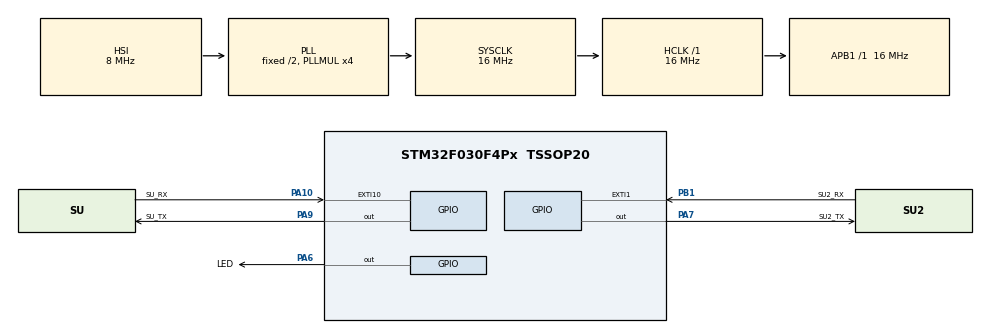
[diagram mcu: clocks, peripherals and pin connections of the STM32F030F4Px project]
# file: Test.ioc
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Mcu.Family=STM32F0
Mcu.Name=STM32F030F4Px
Mcu.Package=TSSOP20
NVIC.EXTI0_1_IRQn=true\:0\:0\:false\:false\:true\:true\:true
NVIC.EXTI4_15_IRQn=true\:0\:0\:false\:false\:true\:true\:true
NVIC.TIM3_IRQn=true\:0\:0\:false\:false\:true\:true\:true
PA10.GPIO_Label=SU_RX
PA10.GPIO_ModeDefaultEXTI=GPIO_MODE_IT_FALLING
PA10.GPIO_PuPd=GPIO_PULLUP
PA10.Signal=GPXTI10
PA13.Mode=Serial_Wire
PA13.Signal=SYS_SWDIO
PA14.Mode=Serial_Wire
PA14.Signal=SYS_SWCLK
PA6.GPIO_Label=LED
PA6.Signal=GPIO_Output
PA7.GPIO_Label=SU2_TX
PA7.GPIO_PuPd=GPIO_PULLUP
PA7.GPIO_Speed=GPIO_SPEED_FREQ_HIGH
PA7.PinState=GPIO_PIN_SET
PA7.Signal=GPIO_Output
PA9.GPIO_FMA9=__NULL
PA9.GPIO_Label=SU_TX
PA9.GPIO_PuPd=GPIO_PULLUP
PA9.GPIO_Speed=GPIO_SPEED_FREQ_HIGH
PA9.PinState=GPIO_PIN_SET
PA9.Signal=GPIO_Output
PB1.GPIO_Label=SU2_RX
PB1.GPIO_ModeDefaultEXTI=GPIO_MODE_IT_FALLING
PB1.GPIO_PuPd=GPIO_PULLUP
PB1.Signal=GPXTI1
ProjectManager.HeapSize=0x200
ProjectManager.StackSize=0x400
ProjectManager.TargetToolchain=MDK-ARM V5.27
RCC.AHBFreq_Value=16000000
RCC.APB1Freq_Value=16000000
RCC.APB1TimFreq_Value=16000000
RCC.HCLKFreq_Value=16000000
RCC.PLLMUL=RCC_PLL_MUL4
RCC.SYSCLKFreq_VALUE=16000000
RCC.SYSCLKSource=RCC_SYSCLKSOURCE_PLLCLK
TIM3.AutoReloadPreload=TIM_AUTORELOAD_PRELOAD_ENABLE
TIM3.Period=103
TIM3.Prescaler=15
VP_TIM3_VS_ClockSourceINT.Mode=Internal
board=custom

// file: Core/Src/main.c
/* USER CODE BEGIN Header */
/**
  ******************************************************************************
  * @file           : main.c
  * @brief          : Main program body
  ******************************************************************************
  * @attention
  *
  * <h2><center>&copy; Copyright (c) 2021 STMicroelectronics.
  * All rights reserved.</center></h2>
  *
  * This software component is licensed by ST under BSD 3-Clause license,
  * the "License"; You may not use this file except in compliance with the
  * License. You may obtain a copy of the License at:
  *                        opensource.org/licenses/BSD-3-Clause
  *
  ******************************************************************************
  */
/* USER CODE END Header */
#include "main.h"

/* USER CODE BEGIN Includes */
#include "softuart.h"

/* USER CODE END Includes */

TIM_HandleTypeDef htim3;

void SystemClock_Config(void);
static void MX_GPIO_Init(void);
static void MX_TIM3_Init(void);

/* USER CODE BEGIN 0 */
uint8_t Buffer[64],Len;

void HAL_TIM_PeriodElapsedCallback(TIM_HandleTypeDef *htim)
{
	if(htim->Instance == TIM3)
	{
		SoftUartHandler();
	}
}

void HAL_GPIO_EXTI_Callback(uint16_t GPIO_Pin)
{
	if(GPIO_Pin==GPIO_PIN_10)
	{
		SoftUartRxHelper(0);
	}
	else if(GPIO_Pin==GPIO_PIN_1)
	{
		SoftUartRxHelper(1);
	}
}

uint8_t getchar(uint8_t SoftUartNumber)
{
    uint8_t ch;
    while(SoftUartRxAlavailable(SoftUartNumber)==0);
    SoftUartReadRxBuffer(SoftUartNumber,&ch,1);
    return ch;
}

/* USER CODE END 0 */

int main(void)
{
  /* USER CODE BEGIN 1 */
	uint8_t ch;
  /* USER CODE END 1 */

  /* MCU Configuration--------------------------------------------------------*/

  /* Reset of all peripherals, Initializes the Flash interface and the Systick. */
  HAL_Init();

  /* Configure the system clock */
  SystemClock_Config();

  /* Initialize all configured peripherals */
  MX_GPIO_Init();
  MX_TIM3_Init();
  /* USER CODE BEGIN 2 */
	HAL_TIM_Base_Start_IT(&htim3);

	SoftUartInit(0,SU_TX_GPIO_Port,SU_TX_Pin,SU_RX_GPIO_Port,SU_RX_Pin);
	SoftUartInit(1,SU2_TX_GPIO_Port,SU2_TX_Pin,SU2_RX_GPIO_Port,SU2_RX_Pin);
	SoftUartEnableRx(0);
	SoftUartEnableRx(1);

  /* USER CODE END 2 */

  /* Infinite loop */
  /* USER CODE BEGIN WHILE */
  while (1)
  {

		ch=getchar(1);
		SoftUartPuts(1,&ch,1);
		SoftUartWaitUntilTxComplate(1);
		HAL_GPIO_TogglePin(LED_GPIO_Port,LED_Pin);

    /* USER CODE END WHILE */

  }
}

void SystemClock_Config(void)
{
  RCC_OscInitTypeDef RCC_OscInitStruct = {0};
  RCC_ClkInitTypeDef RCC_ClkInitStruct = {0};

  /** Initializes the RCC Oscillators according to the specified parameters
  * in the RCC_OscInitTypeDef structure.
  */
  RCC_OscInitStruct.OscillatorType = RCC_OSCILLATORTYPE_HSI;
  RCC_OscInitStruct.HSIState = RCC_HSI_ON;
  RCC_OscInitStruct.HSICalibrationValue = RCC_HSICALIBRATION_DEFAULT;
  RCC_OscInitStruct.PLL.PLLState = RCC_PLL_ON;
  RCC_OscInitStruct.PLL.PLLSource = RCC_PLLSOURCE_HSI;
  RCC_OscInitStruct.PLL.PLLMUL = RCC_PLL_MUL4;
  RCC_OscInitStruct.PLL.PREDIV = RCC_PREDIV_DIV1;
  if (HAL_RCC_OscConfig(&RCC_OscInitStruct) != HAL_OK)
  {
    Error_Handler();
  }
  /** Initializes the CPU, AHB and APB buses clocks
  */
  RCC_ClkInitStruct.ClockType = RCC_CLOCKTYPE_HCLK|RCC_CLOCKTYPE_SYSCLK
                              |RCC_CLOCKTYPE_PCLK1;
  RCC_ClkInitStruct.SYSCLKSource = RCC_SYSCLKSOURCE_PLLCLK;
  RCC_ClkInitStruct.AHBCLKDivider = RCC_SYSCLK_DIV1;
  RCC_ClkInitStruct.APB1CLKDivider = RCC_HCLK_DIV1;

  if (HAL_RCC_ClockConfig(&RCC_ClkInitStruct, FLASH_LATENCY_0) != HAL_OK)
  {
    Error_Handler();
  }
}

static void MX_TIM3_Init(void)
{

  TIM_ClockConfigTypeDef sClockSourceConfig = {0};
  TIM_MasterConfigTypeDef sMasterConfig = {0};

  htim3.Instance = TIM3;
  htim3.Init.Prescaler = 15;
  htim3.Init.CounterMode = TIM_COUNTERMODE_UP;
  htim3.Init.Period = 103;
  htim3.Init.ClockDivision = TIM_CLOCKDIVISION_DIV1;
  htim3.Init.AutoReloadPreload = TIM_AUTORELOAD_PRELOAD_ENABLE;
  if (HAL_TIM_Base_Init(&htim3) != HAL_OK)
  {
    Error_Handler();
  }
  sClockSourceConfig.ClockSource = TIM_CLOCKSOURCE_INTERNAL;
  if (HAL_TIM_ConfigClockSource(&htim3, &sClockSourceConfig) != HAL_OK)
  {
    Error_Handler();
  }
  sMasterConfig.MasterOutputTrigger = TIM_TRGO_RESET;
  sMasterConfig.MasterSlaveMode = TIM_MASTERSLAVEMODE_DISABLE;
  if (HAL_TIMEx_MasterConfigSynchronization(&htim3, &sMasterConfig) != HAL_OK)
  {
    Error_Handler();
  }

}

static void MX_GPIO_Init(void)
{
  GPIO_InitTypeDef GPIO_InitStruct = {0};

  /* GPIO Ports Clock Enable */
  __HAL_RCC_GPIOA_CLK_ENABLE();
  __HAL_RCC_GPIOB_CLK_ENABLE();

  /*Configure GPIO pin Output Level */
  HAL_GPIO_WritePin(LED_GPIO_Port, LED_Pin, GPIO_PIN_RESET);

  /*Configure GPIO pin Output Level */
  HAL_GPIO_WritePin(GPIOA, SU2_TX_Pin|SU_TX_Pin, GPIO_PIN_SET);

  /*Configure GPIO pin : LED_Pin */
  GPIO_InitStruct.Pin = LED_Pin;
  GPIO_InitStruct.Mode = GPIO_MODE_OUTPUT_PP;
  GPIO_InitStruct.Pull = GPIO_NOPULL;
  GPIO_InitStruct.Speed = GPIO_SPEED_FREQ_LOW;
  HAL_GPIO_Init(LED_GPIO_Port, &GPIO_InitStruct);

  /*Configure GPIO pins : SU2_TX_Pin SU_TX_Pin */
  GPIO_InitStruct.Pin = SU2_TX_Pin|SU_TX_Pin;
  GPIO_InitStruct.Mode = GPIO_MODE_OUTPUT_PP;
  GPIO_InitStruct.Pull = GPIO_PULLUP;
  GPIO_InitStruct.Speed = GPIO_SPEED_FREQ_HIGH;
  HAL_GPIO_Init(GPIOA, &GPIO_InitStruct);

  /*Configure GPIO pin : SU2_RX_Pin */
  GPIO_InitStruct.Pin = SU2_RX_Pin;
  GPIO_InitStruct.Mode = GPIO_MODE_IT_FALLING;
  GPIO_InitStruct.Pull = GPIO_PULLUP;
  HAL_GPIO_Init(SU2_RX_GPIO_Port, &GPIO_InitStruct);

  /*Configure GPIO pin : SU_RX_Pin */
  GPIO_InitStruct.Pin = SU_RX_Pin;
  GPIO_InitStruct.Mode = GPIO_MODE_IT_FALLING;
  GPIO_InitStruct.Pull = GPIO_PULLUP;
  HAL_GPIO_Init(SU_RX_GPIO_Port, &GPIO_InitStruct);

  /* EXTI interrupt init*/
  HAL_NVIC_SetPriority(EXTI0_1_IRQn, 0, 0);
  HAL_NVIC_EnableIRQ(EXTI0_1_IRQn);

  HAL_NVIC_SetPriority(EXTI4_15_IRQn, 0, 0);
  HAL_NVIC_EnableIRQ(EXTI4_15_IRQn);

}

void Error_Handler(void)
{
  __disable_irq();
  while (1)
  {
  }
}

/************************ (C) COPYRIGHT STMicroelectronics *****END OF FILE****/
